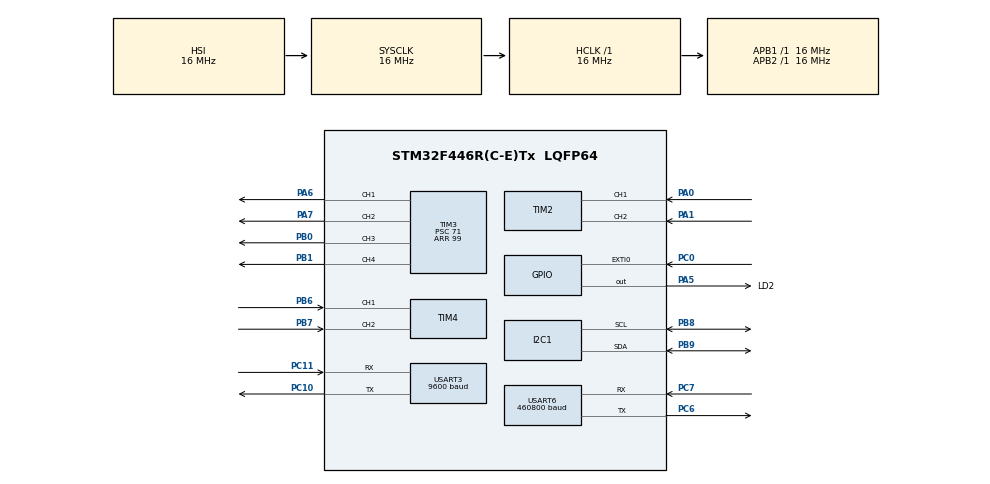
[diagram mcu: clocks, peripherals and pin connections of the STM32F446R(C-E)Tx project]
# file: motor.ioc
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Mcu.Family=STM32F4
Mcu.Name=STM32F446R(C-E)Tx
Mcu.Package=LQFP64
NVIC.EXTI0_IRQn=true\:0\:0\:false\:false\:true\:true\:true\:true
NVIC.I2C1_ER_IRQn=true\:0\:0\:false\:false\:true\:true\:true\:true
NVIC.I2C1_EV_IRQn=true\:0\:0\:false\:false\:true\:true\:true\:true
NVIC.PriorityGroup=NVIC_PRIORITYGROUP_4
NVIC.USART3_IRQn=true\:0\:0\:false\:false\:true\:true\:true\:true
NVIC.USART6_IRQn=true\:0\:0\:false\:false\:true\:true\:true\:true
PA0-WKUP.Signal=S_TIM2_CH1_ETR
PA1.Signal=S_TIM2_CH2
PA13.Mode=Serial_Wire
PA13.Signal=SYS_JTMS-SWDIO
PA14.Mode=Serial_Wire
PA14.Signal=SYS_JTCK-SWCLK
PA5.GPIO_Label=LD2
PA5.Signal=GPIO_Output
PA6.Signal=S_TIM3_CH1
PA7.Signal=S_TIM3_CH2
PB0.Signal=S_TIM3_CH3
PB1.Signal=S_TIM3_CH4
PB6.Signal=S_TIM4_CH1
PB7.Signal=S_TIM4_CH2
PB8.Mode=I2C
PB8.Signal=I2C1_SCL
PB9.Mode=I2C
PB9.Signal=I2C1_SDA
PC0.Signal=GPXTI0
PC10.Mode=Asynchronous
PC10.Signal=USART3_TX
PC11.Mode=Asynchronous
PC11.Signal=USART3_RX
PC6.Mode=Asynchronous
PC6.Signal=USART6_TX
PC7.Mode=Asynchronous
PC7.Signal=USART6_RX
PH0-OSC_IN.Mode=HSE-External-Oscillator
PH0-OSC_IN.Signal=RCC_OSC_IN
PH1-OSC_OUT.Mode=HSE-External-Oscillator
PH1-OSC_OUT.Signal=RCC_OSC_OUT
ProjectManager.HeapSize=0x200
ProjectManager.StackSize=0x400
ProjectManager.TargetToolchain=MDK-ARM V5.32
RCC.AHBFreq_Value=16000000
RCC.APB1Freq_Value=16000000
RCC.APB1TimFreq_Value=16000000
RCC.APB2Freq_Value=16000000
RCC.APB2TimFreq_Value=16000000
RCC.CortexFreq_Value=16000000
RCC.HCLKFreq_Value=16000000
RCC.HSE_VALUE=25000000
RCC.SYSCLKFreq_VALUE=16000000
RCC.USBFreq_Value=96000000
RCC.VCOOutputFreq_Value=192000000
SH.S_TIM2_CH1_ETR.0=TIM2_CH1,Encoder_Interface
SH.S_TIM2_CH2.0=TIM2_CH2,Encoder_Interface
SH.S_TIM3_CH1.0=TIM3_CH1,PWM Generation1 CH1
SH.S_TIM3_CH2.0=TIM3_CH2,PWM Generation2 CH2
SH.S_TIM3_CH3.0=TIM3_CH3,PWM Generation3 CH3
SH.S_TIM3_CH4.0=TIM3_CH4,PWM Generation4 CH4
SH.S_TIM4_CH1.0=TIM4_CH1,Encoder_Interface
SH.S_TIM4_CH2.0=TIM4_CH2,Encoder_Interface
TIM2.EncoderMode=TIM_ENCODERMODE_TI12
TIM3.Channel-PWM\ Generation1\ CH1=TIM_CHANNEL_1
TIM3.Channel-PWM\ Generation2\ CH2=TIM_CHANNEL_2
TIM3.Channel-PWM\ Generation3\ CH3=TIM_CHANNEL_3
TIM3.Channel-PWM\ Generation4\ CH4=TIM_CHANNEL_4
TIM3.Period=99
TIM3.Prescaler=71
TIM3.Pulse-PWM\ Generation1\ CH1=100
TIM4.EncoderMode=TIM_ENCODERMODE_TI12
USART3.BaudRate=9600
USART3.VirtualMode=VM_ASYNC
USART6.BaudRate=460800
USART6.VirtualMode=VM_ASYNC
board=custom

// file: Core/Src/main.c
/* USER CODE BEGIN Header */
/**
  ******************************************************************************
  * @file           : main.c
  * @brief          : Main program body
  ******************************************************************************
  * @attention
  *
  * Copyright (c) 2025 STMicroelectronics.
  * All rights reserved.
  *
  * This software is licensed under terms that can be found in the LICENSE file
  * in the root directory of this software component.
  * If no LICENSE file comes with this software, it is provided AS-IS.
  *
  ******************************************************************************
  */
/* USER CODE END Header */
#include "main.h"
#include "i2c.h"
#include "tim.h"
#include "usart.h"
#include "gpio.h"

/* USER CODE BEGIN Includes */
#include "motor.h"
#include "bluetooth.h"
#include "encoder.h"
#include "control.h"
#include <string.h>
#include <math.h>
#include <stdio.h>
#include "rplidar.h"
/* USER CODE END Includes */

void SystemClock_Config(void);

int main(void)
{

  /* MCU Configuration--------------------------------------------------------*/

  /* Reset of all peripherals, Initializes the Flash interface and the Systick. */
  HAL_Init();

  /* Configure the system clock */
  SystemClock_Config();

  /* Initialize all configured peripherals */
  MX_GPIO_Init();
  MX_TIM3_Init();
  MX_USART3_UART_Init();
  MX_TIM2_Init();
  MX_TIM4_Init();
  MX_I2C1_Init();
  MX_USART6_UART_Init();
  /* USER CODE BEGIN 2 */
  HAL_TIM_PWM_Start(&htim3, TIM_CHANNEL_1);
  HAL_TIM_PWM_Start(&htim3, TIM_CHANNEL_2);
  HAL_TIM_PWM_Start(&htim3, TIM_CHANNEL_3);
  HAL_TIM_PWM_Start(&htim3, TIM_CHANNEL_4);
	HAL_TIM_Encoder_Start(&htim2, TIM_CHANNEL_ALL);
	HAL_TIM_Encoder_Start(&htim4, TIM_CHANNEL_ALL);
	Load(0, 0);

	Encoder_Init();

	Bluetooth_Init();
	Bluetooth_Heartbeat();

	Control_Init();

	RPLIDAR_Init();
	RPLIDAR_StartScan();

	uint32_t heartbeat_tick = 0;
	uint32_t control_tick = HAL_GetTick();

    char bt_buffer[128];
    uint32_t bt_send_tick = HAL_GetTick();

  /* USER CODE END 2 */

  /* Infinite loop */
  /* USER CODE BEGIN WHILE */
  while (1)
  {
    if (HAL_GetTick() - control_tick >= 10)
    {
        Encoder_Update();
        Control_Update_10ms();
        control_tick = HAL_GetTick();
    }
    RPLIDAR_Process();
    Bluetooth_Process_Timeout();
    if (HAL_GetTick() - heartbeat_tick > 1000)
    {
        Bluetooth_Heartbeat();
        heartbeat_tick = HAL_GetTick();
    }
  }
    /* USER CODE END WHILE */

}

void SystemClock_Config(void)
{
  RCC_OscInitTypeDef RCC_OscInitStruct = {0};
  RCC_ClkInitTypeDef RCC_ClkInitStruct = {0};

  /** Configure the main internal regulator output voltage
  */
  __HAL_RCC_PWR_CLK_ENABLE();
  __HAL_PWR_VOLTAGESCALING_CONFIG(PWR_REGULATOR_VOLTAGE_SCALE3);

  /** Initializes the RCC Oscillators according to the specified parameters
  * in the RCC_OscInitTypeDef structure.
  */
  RCC_OscInitStruct.OscillatorType = RCC_OSCILLATORTYPE_HSI;
  RCC_OscInitStruct.HSIState = RCC_HSI_ON;
  RCC_OscInitStruct.HSICalibrationValue = RCC_HSICALIBRATION_DEFAULT;
  RCC_OscInitStruct.PLL.PLLState = RCC_PLL_NONE;
  if (HAL_RCC_OscConfig(&RCC_OscInitStruct) != HAL_OK)
  {
    Error_Handler();
  }

  /** Initializes the CPU, AHB and APB buses clocks
  */
  RCC_ClkInitStruct.ClockType = RCC_CLOCKTYPE_HCLK|RCC_CLOCKTYPE_SYSCLK
                              |RCC_CLOCKTYPE_PCLK1|RCC_CLOCKTYPE_PCLK2;
  RCC_ClkInitStruct.SYSCLKSource = RCC_SYSCLKSOURCE_HSI;
  RCC_ClkInitStruct.AHBCLKDivider = RCC_SYSCLK_DIV1;
  RCC_ClkInitStruct.APB1CLKDivider = RCC_HCLK_DIV1;
  RCC_ClkInitStruct.APB2CLKDivider = RCC_HCLK_DIV1;

  if (HAL_RCC_ClockConfig(&RCC_ClkInitStruct, FLASH_LATENCY_0) != HAL_OK)
  {
    Error_Handler();
  }
}

void Error_Handler(void)
{
  __disable_irq();
  while (1)
  {
  }
}
